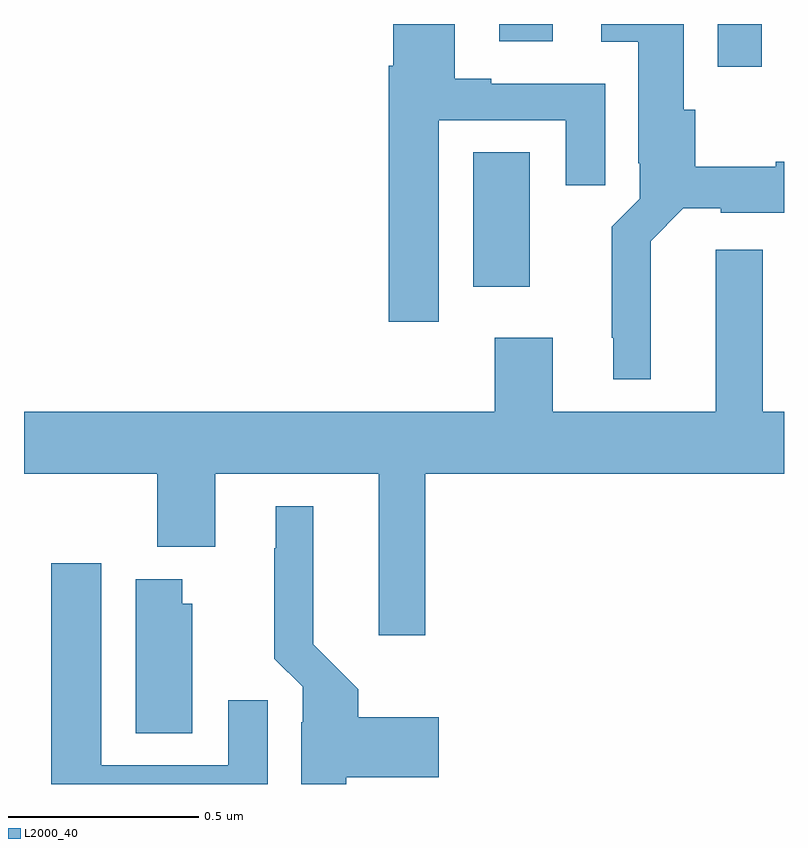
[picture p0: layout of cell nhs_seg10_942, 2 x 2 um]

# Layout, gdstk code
import gdstk
lib = gdstk.Library(unit=1e-6, precision=1e-09)
def R(c, l, rs):  # rectangles x0, y0, x1, y1
    for r in rs: c.add(gdstk.rectangle(r[:2], r[2:], *l))
def P(c, l, *ps):  # polygons
    for p in ps: c.add(gdstk.Polygon(p, *l))
L2000_40 = (2000, 40)

nhs_seg10_942 = lib.new_cell('nhs_seg10_942')
R(nhs_seg10_942, L2000_40, [(123.182,1300.809,123.331,1301.162), (123.825,1301.388,123.941,1301.5), (123.251,1301.454,123.391,1301.5)])
P(nhs_seg10_942, L2000_40, [(123.649,1300.928),(123.735,1301.015),(123.834,1301.015),(123.834,1301.003),(124,1301.003),(124,1301.138),(123.978,1301.138),(123.978,1301.125),(123.767,1301.125),(123.767,1301.274),(123.736,1301.274),(123.736,1301.5),(123.519,1301.5),(123.519,1301.453),(123.617,1301.453),(123.617,1301.134),(123.621,1301.134),(123.621,1301.04),(123.547,1300.966),(123.547,1300.675),(123.551,1300.675),(123.551,1300.565),(123.649,1300.565)],
  [(123.091,1301.247),(123.425,1301.247),(123.425,1301.076),(123.529,1301.076),(123.529,1301.343),(123.229,1301.343),(123.229,1301.356),(123.133,1301.356),(123.133,1301.5),(122.972,1301.5),(122.972,1301.39),(122.96,1301.39),(122.96,1300.716),(123.091,1300.716)],
  [(123.056,1300.316),(124,1300.316),(124,1300.48),(123.944,1300.48),(123.944,1300.906),(123.821,1300.906),(123.821,1300.48),(123.391,1300.48),(123.391,1300.675),(123.239,1300.675),(123.239,1300.48),(122,1300.48),(122,1300.316),(122.351,1300.316),(122.351,1300.124),(122.503,1300.124),(122.503,1300.316),(122.933,1300.316),(122.933,1299.891),(123.056,1299.891)],
  [(122.848,1299.518),(123.091,1299.518),(123.091,1299.676),(122.879,1299.676),(122.879,1299.75),(122.761,1299.868),(122.761,1300.231),(122.663,1300.231),(122.663,1300.121),(122.659,1300.121),(122.659,1299.83),(122.733,1299.756),(122.733,1299.662),(122.729,1299.662),(122.729,1299.5),(122.848,1299.5)],
  [(122.641,1299.721),(122.537,1299.721),(122.537,1299.549),(122.203,1299.549),(122.203,1300.081),(122.072,1300.081),(122.072,1299.5),(122.641,1299.5)],
  [(122.443,1299.975),(122.416,1299.975),(122.416,1300.039),(122.294,1300.039),(122.294,1299.634),(122.443,1299.634)])

lib.write_gds('nhs_seg10_942.gds')
